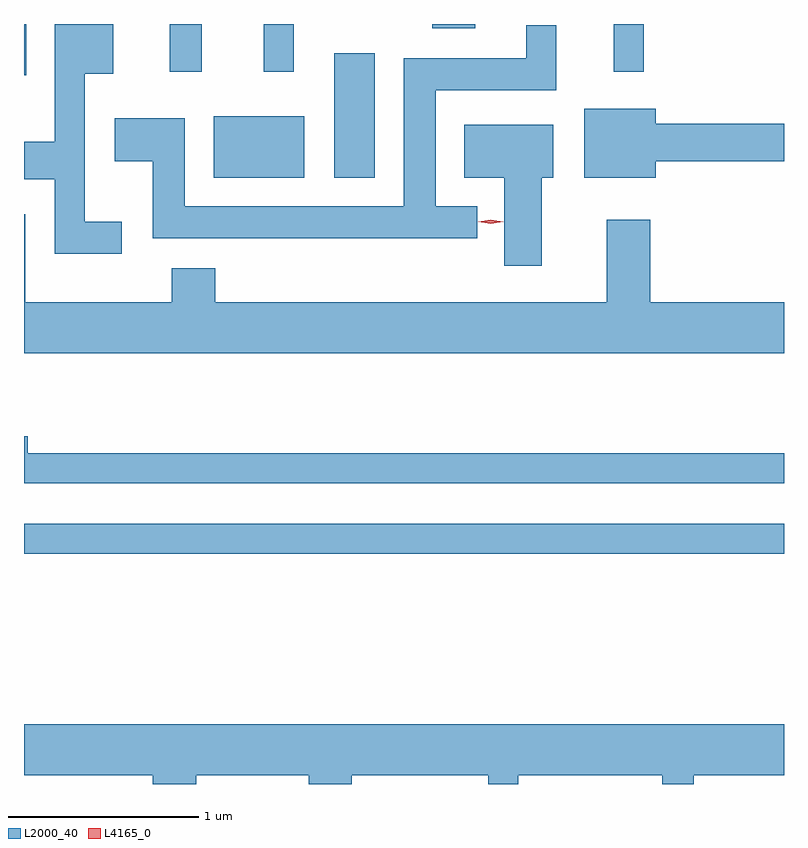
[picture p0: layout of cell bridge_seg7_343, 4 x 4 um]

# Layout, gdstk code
import gdstk
lib = gdstk.Library(unit=1e-6, precision=1e-09)
def R(c, l, rs):  # rectangles x0, y0, x1, y1
    for r in rs: c.add(gdstk.rectangle(r[:2], r[2:], *l))
def P(c, l, *ps):  # polygons
    for p in ps: c.add(gdstk.Polygon(p, *l))
L2000_40 = (2000, 40)
L4165_0 = (4165, 0)

bridge_seg7_343 = lib.new_cell('bridge_seg7_343')
R(bridge_seg7_343, L2000_40, [(1221.163,1777.641,1225.163,1777.799), (1222.161,1779.621,1222.639,1779.944), (1222.796,1779.621,1223.009,1780.274), (1221.163,1780.158,1221.174,1780.429), (1221.931,1780.178,1222.099,1780.429), (1222.426,1780.178,1222.584,1780.429), (1224.266,1780.178,1224.424,1780.429), (1223.311,1780.406,1223.539,1780.429)])
P(bridge_seg7_343, L2000_40, [(1221.678,1779.389),(1221.484,1779.389),(1221.484,1780.166),(1221.634,1780.166),(1221.634,1780.429),(1221.326,1780.429),(1221.326,1779.809),(1221.163,1779.809),(1221.163,1779.611),(1221.326,1779.611),(1221.326,1779.221),(1221.678,1779.221)],
  [(1223.548,1779.469),(1223.329,1779.469),(1223.329,1780.081),(1223.964,1780.081),(1223.964,1780.423),(1223.806,1780.423),(1223.806,1780.249),(1223.161,1780.249),(1223.161,1779.469),(1222.009,1779.469),(1222.009,1779.934),(1221.641,1779.934),(1221.641,1779.706),(1221.841,1779.706),(1221.841,1779.301),(1223.548,1779.301)],
  [(1224.489,1779.706),(1225.163,1779.706),(1225.163,1779.904),(1224.489,1779.904),(1224.489,1779.984),(1224.111,1779.984),(1224.111,1779.621),(1224.489,1779.621)],
  [(1223.889,1779.621),(1223.949,1779.621),(1223.949,1779.899),(1223.481,1779.899),(1223.481,1779.621),(1223.691,1779.621),(1223.691,1779.156),(1223.889,1779.156)],
  [(1225.163,1778.964),(1224.459,1778.964),(1224.459,1779.399),(1224.231,1779.399),(1224.231,1778.964),(1222.169,1778.964),(1222.169,1779.144),(1221.941,1779.144),(1221.941,1778.964),(1221.169,1778.964),(1221.169,1779.428),(1221.163,1779.428),(1221.163,1778.696),(1225.163,1778.696)],
  [(1225.163,1778.169),(1221.184,1778.169),(1221.184,1778.259),(1221.163,1778.259),(1221.163,1778.011),(1225.163,1778.011)],
  [(1221.163,1776.476),(1221.841,1776.476),(1221.841,1776.429),(1222.069,1776.429),(1222.069,1776.476),(1222.661,1776.476),(1222.661,1776.429),(1222.889,1776.429),(1222.889,1776.476),(1223.606,1776.476),(1223.606,1776.429),(1223.764,1776.429),(1223.764,1776.476),(1224.521,1776.476),(1224.521,1776.429),(1224.689,1776.429),(1224.689,1776.476),(1225.163,1776.476),(1225.163,1776.744),(1221.163,1776.744)])
P(bridge_seg7_343, L4165_0, [(1223.619,1779.378),(1223.553,1779.388),(1223.552,1779.388),(1223.553,1779.389),(1223.619,1779.398),(1223.685,1779.389),(1223.686,1779.388),(1223.685,1779.388)])

lib.write_gds('bridge_seg7_343.gds')
